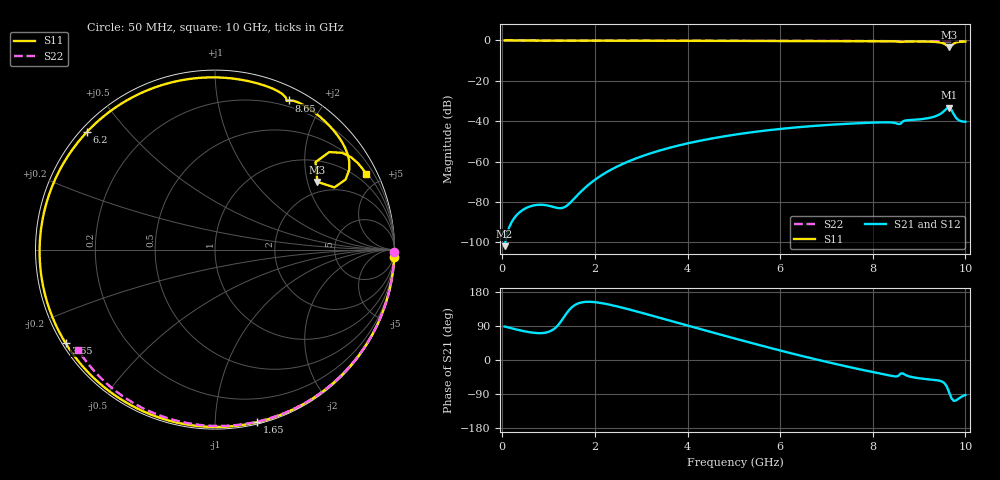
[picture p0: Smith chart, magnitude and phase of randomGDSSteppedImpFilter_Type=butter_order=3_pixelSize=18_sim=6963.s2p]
! freq	dB(S11)	phase(S11)	dB(S12)	phase(S12)
!  dB(S21)	phase(S21)	dB(S22)	phase(S22)
!S-par simulation data
#  GHz  S  DB  R 50
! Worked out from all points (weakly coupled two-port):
!   200 points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, 50 MHz to 10 GHz, reference 50 ohm
!   highest |S21| = -33.22 dB at 9.65 GHz (marker M1); lowest = -101.9 dB at 50 MHz (marker M2)
!   lowest |S11| = -3.3 dB at 9.65 GHz (marker M3), VSWR 5.33, Z = 81.5 + j116 ohm
!   |S11| at or under -10 dB: nowhere
!   |S22| runs from -0.5 to 0.0 dB; largest |S21 - S12| = 0
!   S11 on the Smith chart (normalised r, x): 50 MHz: 0, -46; 1.65 GHz: 0.01, -1.27; 3.65 GHz: 0.01, -0.29; 6.2 GHz: 0.02, +0.39; 8.65 GHz: 0.14, +1.60; 10 GHz: 0.57, +4.18
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0.05  -0.00 -2.5  -101.87 88.4  -101.87 88.4  -0.00 -0.8
0.65  -0.04 -31.5  -81.85 72.2  -81.85 72.2  -0.01 -10.8
1.45  -0.08 -67.8  -80.73 132.8  -80.73 132.8  -0.03 -23.9
1.65  -0.09 -76.3  -75.98 149.9  -75.98 149.9  -0.03 -27.2
1.75  -0.09 -80.4  -73.73 152.8  -73.73 152.8  -0.04 -28.8
2.45  -0.12 -107.6  -62.78 142.3  -62.78 142.3  -0.05 -40.0
3.4  -0.15 -140.0  -54.50 111.4  -54.50 111.4  -0.07 -54.7
3.65  -0.16 -148.0  -52.92 102.9  -52.92 102.9  -0.08 -58.5
4.35  -0.18 -169.2  -49.30 79.1  -49.30 79.1  -0.10 -68.9
5.05  -0.22 170.5  -46.55 55.7  -46.55 55.7  -0.12 -79.0
6.2  -0.27 137.6  -43.36 18.9  -43.36 18.9  -0.17 -94.9
6.7  -0.30 123.1  -42.38 3.8  -42.38 3.8  -0.20 -101.6
7.55  -0.34 97.6  -41.14 -20.1  -41.14 -20.1  -0.25 -112.8
8.35  -0.41 72.1  -40.56 -40.5  -40.56 -40.5  -0.32 -123.0
8.65  -0.66 63.7  -40.11 -35.4  -40.11 -35.4  -0.34 -126.8
9.1  -0.54 47.9  -38.82 -49.7  -38.82 -49.7  -0.39 -132.5
9.45  -0.96 33.3  -36.51 -54.9  -36.51 -54.9  -0.43 -136.9
9.55  -1.67 28.2  -34.75 -61.4  -34.75 -61.4  -0.44 -138.2
9.65  -3.30 33.5  -33.22 -85.4  -33.22 -85.4  -0.45 -139.4
9.75  -1.55 40.5  -36.59 -107.9  -36.59 -107.9  -0.45 -140.7
9.85  -0.75 34.0  -39.41 -102.4  -39.41 -102.4  -0.47 -142.0
10  -0.52 26.5  -40.25 -92.3  -40.25 -92.3  -0.49 -143.9
